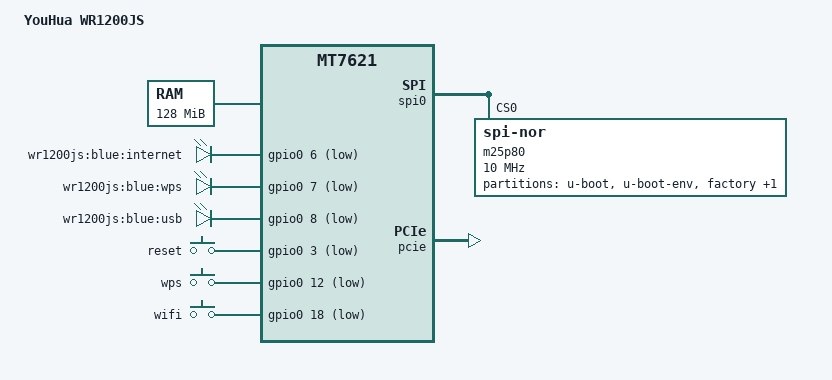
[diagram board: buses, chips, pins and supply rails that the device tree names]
/dts-v1/;

#include "mt7621.dtsi"

#include <dt-bindings/gpio/gpio.h>
#include <dt-bindings/input/input.h>

/ {
	compatible = "youhua,wr1200js", "mediatek,mt7621-soc";
	model = "YouHua WR1200JS";

	aliases {
		led-boot = &led_wps;
		led-failsafe = &led_wps;
	};

	memory@0 {
		device_type = "memory";
		reg = <0x0 0x8000000>;
	};

	chosen {
		bootargs = "console=ttyS0,115200";
	};

	gpio-leds {
		compatible = "gpio-leds";

		internet {
			label = "wr1200js:blue:internet";
			gpios = <&gpio0 6 GPIO_ACTIVE_LOW>;
		};

		led_wps: wps {
			label = "wr1200js:blue:wps";
			gpios = <&gpio0 7 GPIO_ACTIVE_LOW>;
		};

		usb {
			label = "wr1200js:blue:usb";
			gpios = <&gpio0 8 GPIO_ACTIVE_LOW>;
			trigger-sources = <&xhci_ehci_port1>, <&ehci_port2>;
			linux,default-trigger = "usbport";
		};
	};

	gpio-keys-polled {
		compatible = "gpio-keys-polled";
		poll-interval = <20>;

		reset {
			label = "reset";
			gpios = <&gpio0 3 GPIO_ACTIVE_LOW>;
			linux,code = <KEY_RESTART>;
		};

		wps {
			label = "wps";
			gpios = <&gpio0 12 GPIO_ACTIVE_LOW>;
			linux,code = <KEY_WPS_BUTTON>;
		};

		wifi {
			label = "wifi";
			gpios = <&gpio0 18 GPIO_ACTIVE_LOW>;
			linux,code = <KEY_RFKILL>;
		};
	};
};

&spi0 {
	status = "okay";

	m25p80@0 {
		compatible = "jedec,spi-nor";
		reg = <0>;
		spi-max-frequency = <10000000>;
		m25p,chunked-io = <32>;

		partitions {
			compatible = "fixed-partitions";
			#address-cells = <1>;
			#size-cells = <1>;

			partition@0 {
				label = "u-boot";
				reg = <0x0 0x30000>;
				read-only;
			};

			partition@30000 {
				label = "u-boot-env";
				reg = <0x30000 0x10000>;
				read-only;
			};

			factory: partition@40000 {
				label = "factory";
				reg = <0x40000 0x10000>;
				read-only;
			};

			partition@50000 {
				label = "firmware";
				reg = <0x50000 0xfb0000>;
			};
		};
	};
};

&pcie {
	status = "okay";
};

&pcie0 {
	mt76@0,0 {
		reg = <0x0000 0 0 0 0>;
		mediatek,mtd-eeprom = <&factory 0x0000>;
	};
};

&pcie1 {
	mt76@0,0 {
		reg = <0x0000 0 0 0 0>;
		mediatek,mtd-eeprom = <&factory 0x8000>;
		ieee80211-freq-limit = <5000000 6000000>;

		led {
			led-sources = <2>;
			led-active-low;
		};
	};
};

&ethernet {
	mtd-mac-address = <&factory 0xe000>;
};

&pinctrl {
	state_default: pinctrl0 {
		gpio {
			ralink,group = "i2c", "uart2", "uart3", "wdt";
			ralink,function = "gpio";
		};
	};
};
